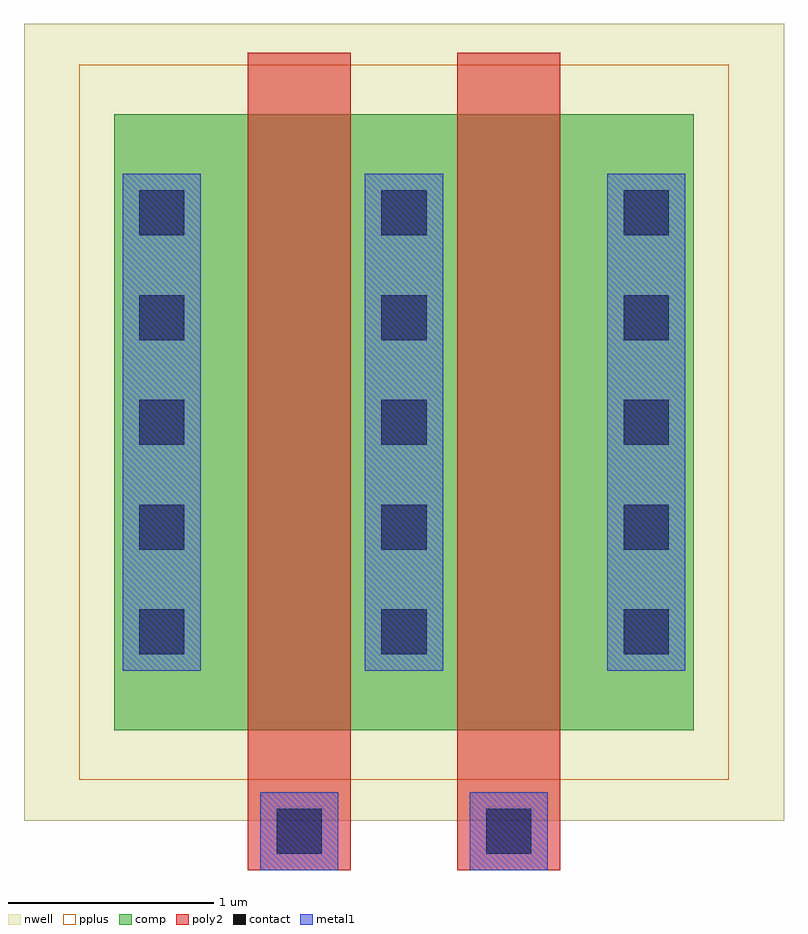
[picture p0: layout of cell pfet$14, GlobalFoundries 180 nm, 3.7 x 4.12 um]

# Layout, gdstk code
import gdstk
lib = gdstk.Library(unit=1e-6, precision=5e-09)
def R(c, l, rs):  # rectangles x0, y0, x1, y1
    for r in rs: c.add(gdstk.rectangle(r[:2], r[2:], *l))
def A(c, l, x, y, w, h, nx, ny, dx, dy):  # array of equal rectangles
    R(c, l, [(x+i*dx, y+j*dy, x+i*dx+w, y+j*dy+h) for i in range(nx) for j in range(ny)])
nwell = (21, 0)
comp = (22, 0)
poly2 = (30, 0)
pplus = (31, 0)
contact = (33, 0)
metal1 = (34, 0)

pfet_14 = lib.new_cell('pfet$14')
R(pfet_14, nwell, [(-0.9,-0.44,2.8,3.44)])
R(pfet_14, comp, [(-0.46,0,0,3), (0,0,1.9,3), (1.9,0,2.36,3)])
R(pfet_14, poly2, [(0.19,-0.68,0.69,-0.3), (1.21,-0.68,1.71,-0.3), (0.19,-0.3,0.69,3.3), (1.21,-0.3,1.71,3.3)])
R(pfet_14, pplus, [(-0.63,-0.24,2.53,3.24)])
A(pfet_14, contact, -0.34, 0.37, 0.22, 0.22, 3, 5, 1.18, 0.51)
R(pfet_14, contact, [(0.33,-0.6,0.55,-0.38), (1.35,-0.6,1.57,-0.38)])
A(pfet_14, metal1, -0.42, 0.29, 0.38, 2.42, 3, 1, 1.18, 0)
R(pfet_14, metal1, [(0.25,-0.68,0.63,-0.3), (1.27,-0.68,1.65,-0.3)])

lib.write_gds('pfet_14.gds')
